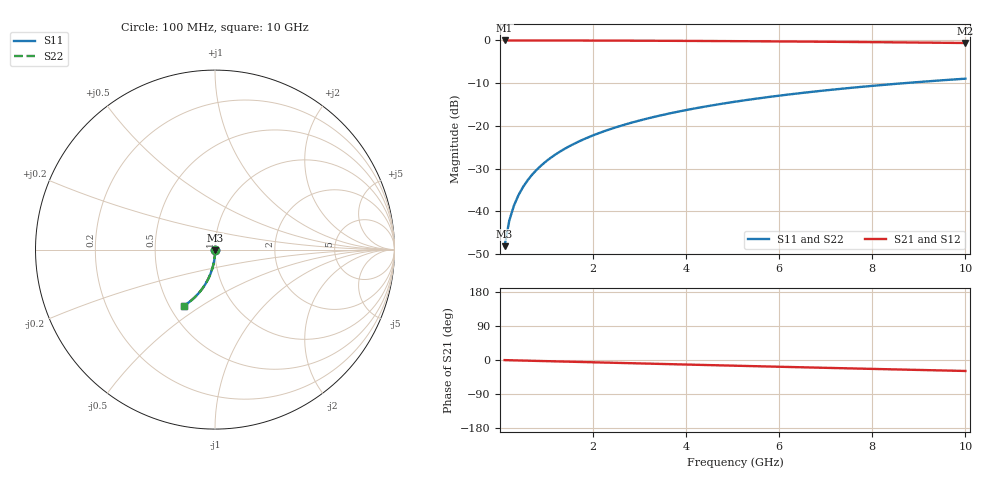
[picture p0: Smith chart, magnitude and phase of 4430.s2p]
# Hz S RI R 50.00
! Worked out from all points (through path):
!   100 points, 100 MHz to 10 GHz, reference 50 ohm
!   highest |S21| = 0.00 dB at 100 MHz (marker M1); lowest = -0.6 dB at 10 GHz (marker M2)
!   group delay of S21, straight-line fit = 8.06 ps
!   lowest |S11| = -48.2 dB at 100 MHz (marker M3), VSWR 1.01, Z = 50 - j0.388 ohm
!   |S11| at or under -10 dB: start of sweep to 8.694 GHz
!   |S22| runs from -48.2 to -9.0 dB; largest |S21 - S12| = 0
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1e8  0.000389 -0.00388  0.9996 -0.00526  0.9996 -0.00526  0.000389 -0.00388
2e8  0.000326 -0.00776  0.9995 -0.0105  0.9995 -0.0105  0.000326 -0.00776
3e8  0.000222 -0.0116  0.9994 -0.0158  0.9994 -0.0158  0.000222 -0.0116
4e8  7.64e-05 -0.0155  0.9992 -0.021  0.9992 -0.021  7.64e-05 -0.0155
5e8  -0.00011 -0.0194  0.999 -0.0263  0.999 -0.0263  -0.00011 -0.0194
6e8  -0.000337 -0.0233  0.9988 -0.0315  0.9988 -0.0315  -0.000337 -0.0233
7e8  -0.000605 -0.0271  0.9985 -0.0368  0.9985 -0.0368  -0.000605 -0.0271
8e8  -0.000913 -0.031  0.9982 -0.042  0.9982 -0.042  -0.000913 -0.031
9e8  -0.00126 -0.0348  0.9978 -0.0472  0.9978 -0.0472  -0.00126 -0.0348
1.1e9  -0.00208 -0.0425  0.9969 -0.0577  0.9969 -0.0577  -0.00208 -0.0425
1.4e9  -0.00361 -0.0541  0.9953 -0.0733  0.9953 -0.0733  -0.00361 -0.0541
1.8e9  -0.00621 -0.0693  0.9926 -0.0941  0.9926 -0.0941  -0.00621 -0.0693
2.1e9  -0.00858 -0.0807  0.9901 -0.1096  0.9901 -0.1096  -0.00858 -0.0807
2.5e9  -0.0123 -0.0956  0.9862 -0.1301  0.9862 -0.1301  -0.0123 -0.0956
2.9e9  -0.0166 -0.1104  0.9817 -0.1504  0.9817 -0.1504  -0.0166 -0.1104
3.4e9  -0.0228 -0.1285  0.9752 -0.1754  0.9752 -0.1754  -0.0228 -0.1285
4.2e9  -0.0346 -0.1566  0.9628 -0.2146  0.9628 -0.2146  -0.0346 -0.1566
5.1e9  -0.0505 -0.1867  0.9461 -0.2571  0.9461 -0.2571  -0.0505 -0.1867
5.9e9  -0.0667 -0.2118  0.9291 -0.2934  0.9291 -0.2934  -0.0667 -0.2118
6.7e9  -0.0846 -0.2352  0.9102 -0.328  0.9102 -0.328  -0.0846 -0.2352
8.4e9  -0.1275 -0.279  0.8647 -0.3956  0.8647 -0.3956  -0.1275 -0.279
1e10  -0.1724 -0.3122  0.8168 -0.4514  0.8168 -0.4514  -0.1724 -0.3122
